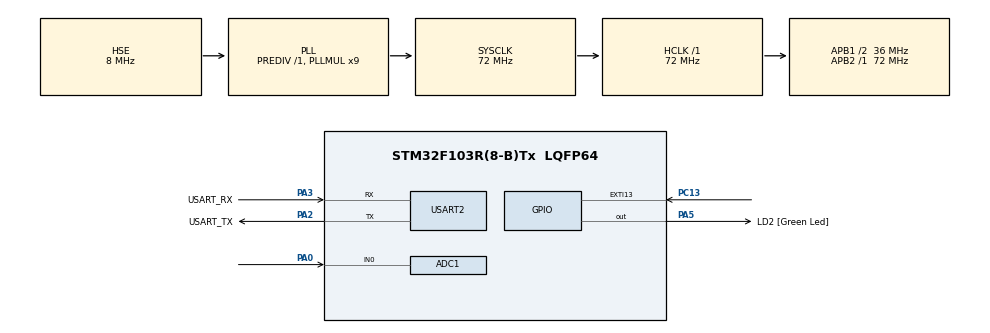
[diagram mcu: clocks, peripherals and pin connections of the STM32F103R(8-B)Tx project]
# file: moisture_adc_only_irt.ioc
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ADC1.Channel-0\#ChannelRegularConversion=ADC_CHANNEL_0
ADC1.ExternalTrigConv=ADC_EXTERNALTRIGCONV_T3_TRGO
ADC1.NbrOfConversionFlag=1
ADC1.Rank-0\#ChannelRegularConversion=1
ADC1.SamplingTime-0\#ChannelRegularConversion=ADC_SAMPLETIME_71CYCLES_5
ADC1.master=1
Dma.ADC1.0.Direction=DMA_PERIPH_TO_MEMORY
Dma.ADC1.0.Instance=DMA1_Channel1
Dma.ADC1.0.MemDataAlignment=DMA_MDATAALIGN_HALFWORD
Dma.ADC1.0.MemInc=DMA_MINC_ENABLE
Dma.ADC1.0.Mode=DMA_CIRCULAR
Dma.ADC1.0.PeriphDataAlignment=DMA_PDATAALIGN_HALFWORD
Dma.ADC1.0.PeriphInc=DMA_PINC_DISABLE
Dma.ADC1.0.Priority=DMA_PRIORITY_LOW
Dma.Request0=ADC1
Mcu.Family=STM32F1
Mcu.Name=STM32F103R(8-B)Tx
Mcu.Package=LQFP64
NVIC.DMA1_Channel1_IRQn=true\:0\:0\:false\:false\:true\:false\:true\:true
NVIC.PriorityGroup=NVIC_PRIORITYGROUP_4
NVIC.TIM3_IRQn=true\:0\:0\:false\:false\:true\:true\:true\:true
PA0-WKUP.Signal=ADCx_IN0
PA13.GPIO_Label=TMS
PA13.Mode=Serial_Wire
PA13.Signal=SYS_JTMS-SWDIO
PA14.GPIO_Label=TCK
PA14.Mode=Serial_Wire
PA14.Signal=SYS_JTCK-SWCLK
PA2.GPIO_Label=USART_TX
PA2.GPIO_Mode=GPIO_MODE_AF_PP
PA2.GPIO_PuPd=GPIO_NOPULL
PA2.GPIO_Speed=GPIO_SPEED_FREQ_LOW
PA2.Mode=Asynchronous
PA2.Signal=USART2_TX
PA3.GPIO_Label=USART_RX
PA3.GPIO_Mode=GPIO_MODE_AF_PP
PA3.GPIO_PuPd=GPIO_NOPULL
PA3.GPIO_Speed=GPIO_SPEED_FREQ_LOW
PA3.Mode=Asynchronous
PA3.Signal=USART2_RX
PA5.GPIO_Label=LD2 [Green Led]
PA5.GPIO_ModeDefaultOutputPP=GPIO_MODE_OUTPUT_PP
PA5.GPIO_PuPd=GPIO_NOPULL
PA5.GPIO_Speed=GPIO_SPEED_FREQ_LOW
PA5.Signal=GPIO_Output
PB3.GPIO_Label=SWO
PB3.Signal=SYS_JTDO-TRACESWO
PC13-TAMPER-RTC.Signal=GPXTI13
PC14-OSC32_IN.Mode=LSE-External-Oscillator
PC14-OSC32_IN.Signal=RCC_OSC32_IN
PC15-OSC32_OUT.Mode=LSE-External-Oscillator
PC15-OSC32_OUT.Signal=RCC_OSC32_OUT
PD0-OSC_IN.Mode=HSE-External-Clock-Source
PD0-OSC_IN.Signal=RCC_OSC_IN
PD1-OSC_OUT.Mode=HSE-External-Clock-Source
PD1-OSC_OUT.Signal=RCC_OSC_OUT
ProjectManager.HeapSize=0x200
ProjectManager.StackSize=0x400
ProjectManager.TargetToolchain=STM32CubeIDE
RCC.ADCPresc=RCC_ADCPCLK2_DIV6
RCC.AHBFreq_Value=72000000
RCC.APB1CLKDivider=RCC_HCLK_DIV2
RCC.APB1Freq_Value=36000000
RCC.APB1TimFreq_Value=72000000
RCC.APB2Freq_Value=72000000
RCC.APB2TimFreq_Value=72000000
RCC.HCLKFreq_Value=72000000
RCC.PLLMUL=RCC_PLL_MUL9
RCC.PLLSourceVirtual=RCC_PLLSOURCE_HSE
RCC.RTCClockSelection=RCC_RTCCLKSOURCE_LSE
RCC.SYSCLKFreq_VALUE=72000000
RCC.SYSCLKSource=RCC_SYSCLKSOURCE_PLLCLK
RCC.USBFreq_Value=72000000
SH.ADCx_IN0.0=ADC1_IN0,IN0
TIM3.Period=99
TIM3.Prescaler=7199
TIM3.TIM_MasterOutputTrigger=TIM_TRGO_UPDATE
TIM3.TIM_MasterSlaveMode=TIM_MASTERSLAVEMODE_DISABLE
USART2.VirtualMode=VM_ASYNC
VP_TIM3_VS_ClockSourceINT.Mode=Internal
board=NUCLEO-F103RB

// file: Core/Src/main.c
/* USER CODE BEGIN Header */
/**
  ******************************************************************************
  * @file           : main.c
  * @brief          : Main program body
  ******************************************************************************
  * @attention
  *
  * Copyright (c) 2025 STMicroelectronics.
  * All rights reserved.
  *
  * This software is licensed under terms that can be found in the LICENSE file
  * in the root directory of this software component.
  * If no LICENSE file comes with this software, it is provided AS-IS.
  *
  ******************************************************************************
  */
/* USER CODE END Header */
#include "main.h"

/* USER CODE BEGIN Includes */
#include <stdio.h>
/* USER CODE END Includes */

ADC_HandleTypeDef hadc1;
DMA_HandleTypeDef hdma_adc1;

TIM_HandleTypeDef htim3;

UART_HandleTypeDef huart2;

void SystemClock_Config(void);
static void MX_GPIO_Init(void);
static void MX_DMA_Init(void);
static void MX_USART2_UART_Init(void);
static void MX_ADC1_Init(void);
static void MX_TIM3_Init(void);

/* USER CODE BEGIN 0 */
// ---- 캘리브레이션(네 값으로 조정) ----
#define DRY_ADC_F 4018.0f
#define WET_ADC_F 2725.0f
static inline float clampf(float v,float lo,float hi){return v<lo?lo:(v>hi?hi:v);}
static float moisture_percent_u32(uint32_t a){
  float den = (WET_ADC_F - DRY_ADC_F);
  if (den>-0.5f && den<0.5f) return 0.0f;
  float p = ((float)a - DRY_ADC_F) * 100.0f / den;
  return clampf(p,0.0f,100.0f);
}

// ---- ADC DMA 버퍼/플래그 ----
#define ADC_BUF_LEN 128
static uint16_t adc_buf[ADC_BUF_LEN] __attribute__((aligned(32)));
static volatile uint8_t adc_half = 0, adc_full = 0;

// EMA(노이즈 완화)
static uint8_t ema_init = 0;
static float   ema_adc  = 0.0f;

// 버튼 디바운싱
static volatile uint8_t  btn_pressed = 0;
static volatile uint32_t btn_last_ms = 0;

// printf → UART2
int _write(int file, char *ptr, int len){
  extern UART_HandleTypeDef huart2;
  HAL_UART_Transmit(&huart2,(uint8_t*)ptr,len,HAL_MAX_DELAY);
  return len;
}

// 절반 버퍼 평균 → EMA
static void process_samples(uint16_t *p, uint32_t n){
  uint32_t s=0; for(uint32_t i=0;i<n;i++) s += p[i];
  uint32_t m = s / n;
  if(!ema_init){ ema_init=1; ema_adc=(float)m; }
  else         { ema_adc=0.8f*ema_adc + 0.2f*(float)m; }
}
/* USER CODE END 0 */

int main(void)
{

  /* MCU Configuration--------------------------------------------------------*/

  /* Reset of all peripherals, Initializes the Flash interface and the Systick. */
  HAL_Init();

  /* Configure the system clock */
  SystemClock_Config();

  /* Initialize all configured peripherals */
  MX_GPIO_Init();
  MX_DMA_Init();
  MX_USART2_UART_Init();
  MX_ADC1_Init();
  MX_TIM3_Init();
  /* USER CODE BEGIN 2 */
  printf("\r\n[STM32] Moisture (ADC DMA + TIM3 TRGO) start\r\n");
  HAL_ADCEx_Calibration_Start(&hadc1);                 // F1 보정
  HAL_TIM_Base_Start(&htim3);                          // TIM3 100 Hz
  HAL_ADC_Start_DMA(&hadc1,(uint32_t*)adc_buf,ADC_BUF_LEN);

  uint32_t t_print = HAL_GetTick();                    // 출력 타이밍
  /* USER CODE END 2 */

  /* Infinite loop */
  while (1)
  {

    /* USER CODE BEGIN 3 */
	  uint32_t now = HAL_GetTick();

	  // DMA 콜백 플래그 처리
	  if(adc_half){ adc_half=0; process_samples(&adc_buf[0],             ADC_BUF_LEN/2); }
	  if(adc_full){ adc_full=0; process_samples(&adc_buf[ADC_BUF_LEN/2], ADC_BUF_LEN/2); }

	  // 0.5초마다 상태 출력
	  if((uint32_t)(now - t_print) >= 500){
	    t_print += 500;
	    uint32_t adc = (uint32_t)(ema_adc + 0.5f);
	    float volt = 3.3f * (float)adc / 4095.0f;
	    float pct  = moisture_percent_u32(adc);
	    printf("ADC=%lu, V=%.3fV, Moisture=%.1f%%\r\n",(unsigned long)adc, volt, pct);
	  }

	  // 버튼 눌림(디바운스 후) 이벤트 (선택)
	  if(btn_pressed){
	    btn_pressed = 0;
	    uint32_t adc = (uint32_t)(ema_adc + 0.5f);
	    printf("CALIB suggest avg=%lu\r\n",(unsigned long)adc);
	  }

	  HAL_Delay(1);
  }
  /* USER CODE END 3 */
}

void SystemClock_Config(void)
{
  RCC_OscInitTypeDef RCC_OscInitStruct = {0};
  RCC_ClkInitTypeDef RCC_ClkInitStruct = {0};
  RCC_PeriphCLKInitTypeDef PeriphClkInit = {0};

  /** Initializes the RCC Oscillators according to the specified parameters
  * in the RCC_OscInitTypeDef structure.
  */
  RCC_OscInitStruct.OscillatorType = RCC_OSCILLATORTYPE_HSE;
  RCC_OscInitStruct.HSEState = RCC_HSE_BYPASS;
  RCC_OscInitStruct.HSEPredivValue = RCC_HSE_PREDIV_DIV1;
  RCC_OscInitStruct.HSIState = RCC_HSI_ON;
  RCC_OscInitStruct.PLL.PLLState = RCC_PLL_ON;
  RCC_OscInitStruct.PLL.PLLSource = RCC_PLLSOURCE_HSE;
  RCC_OscInitStruct.PLL.PLLMUL = RCC_PLL_MUL9;
  if (HAL_RCC_OscConfig(&RCC_OscInitStruct) != HAL_OK)
  {
    Error_Handler();
  }

  /** Initializes the CPU, AHB and APB buses clocks
  */
  RCC_ClkInitStruct.ClockType = RCC_CLOCKTYPE_HCLK|RCC_CLOCKTYPE_SYSCLK
                              |RCC_CLOCKTYPE_PCLK1|RCC_CLOCKTYPE_PCLK2;
  RCC_ClkInitStruct.SYSCLKSource = RCC_SYSCLKSOURCE_PLLCLK;
  RCC_ClkInitStruct.AHBCLKDivider = RCC_SYSCLK_DIV1;
  RCC_ClkInitStruct.APB1CLKDivider = RCC_HCLK_DIV2;
  RCC_ClkInitStruct.APB2CLKDivider = RCC_HCLK_DIV1;

  if (HAL_RCC_ClockConfig(&RCC_ClkInitStruct, FLASH_LATENCY_2) != HAL_OK)
  {
    Error_Handler();
  }
  PeriphClkInit.PeriphClockSelection = RCC_PERIPHCLK_ADC;
  PeriphClkInit.AdcClockSelection = RCC_ADCPCLK2_DIV6;
  if (HAL_RCCEx_PeriphCLKConfig(&PeriphClkInit) != HAL_OK)
  {
    Error_Handler();
  }
}

static void MX_ADC1_Init(void)
{

  ADC_ChannelConfTypeDef sConfig = {0};

  /** Common config
  */
  hadc1.Instance = ADC1;
  hadc1.Init.ScanConvMode = ADC_SCAN_DISABLE;
  hadc1.Init.ContinuousConvMode = DISABLE;
  hadc1.Init.DiscontinuousConvMode = DISABLE;
  hadc1.Init.ExternalTrigConv = ADC_EXTERNALTRIGCONV_T3_TRGO;
  hadc1.Init.DataAlign = ADC_DATAALIGN_RIGHT;
  hadc1.Init.NbrOfConversion = 1;
  if (HAL_ADC_Init(&hadc1) != HAL_OK)
  {
    Error_Handler();
  }

  /** Configure Regular Channel
  */
  sConfig.Channel = ADC_CHANNEL_0;
  sConfig.Rank = ADC_REGULAR_RANK_1;
  sConfig.SamplingTime = ADC_SAMPLETIME_71CYCLES_5;
  if (HAL_ADC_ConfigChannel(&hadc1, &sConfig) != HAL_OK)
  {
    Error_Handler();
  }

}

static void MX_TIM3_Init(void)
{

  TIM_ClockConfigTypeDef sClockSourceConfig = {0};
  TIM_MasterConfigTypeDef sMasterConfig = {0};

  htim3.Instance = TIM3;
  htim3.Init.Prescaler = 7199;
  htim3.Init.CounterMode = TIM_COUNTERMODE_UP;
  htim3.Init.Period = 99;
  htim3.Init.ClockDivision = TIM_CLOCKDIVISION_DIV1;
  htim3.Init.AutoReloadPreload = TIM_AUTORELOAD_PRELOAD_DISABLE;
  if (HAL_TIM_Base_Init(&htim3) != HAL_OK)
  {
    Error_Handler();
  }
  sClockSourceConfig.ClockSource = TIM_CLOCKSOURCE_INTERNAL;
  if (HAL_TIM_ConfigClockSource(&htim3, &sClockSourceConfig) != HAL_OK)
  {
    Error_Handler();
  }
  sMasterConfig.MasterOutputTrigger = TIM_TRGO_UPDATE;
  sMasterConfig.MasterSlaveMode = TIM_MASTERSLAVEMODE_DISABLE;
  if (HAL_TIMEx_MasterConfigSynchronization(&htim3, &sMasterConfig) != HAL_OK)
  {
    Error_Handler();
  }

}

static void MX_USART2_UART_Init(void)
{

  huart2.Instance = USART2;
  huart2.Init.BaudRate = 115200;
  huart2.Init.WordLength = UART_WORDLENGTH_8B;
  huart2.Init.StopBits = UART_STOPBITS_1;
  huart2.Init.Parity = UART_PARITY_NONE;
  huart2.Init.Mode = UART_MODE_TX_RX;
  huart2.Init.HwFlowCtl = UART_HWCONTROL_NONE;
  huart2.Init.OverSampling = UART_OVERSAMPLING_16;
  if (HAL_UART_Init(&huart2) != HAL_OK)
  {
    Error_Handler();
  }

}

static void MX_DMA_Init(void)
{

  /* DMA controller clock enable */
  __HAL_RCC_DMA1_CLK_ENABLE();

  /* DMA interrupt init */
  /* DMA1_Channel1_IRQn interrupt configuration */
  HAL_NVIC_SetPriority(DMA1_Channel1_IRQn, 0, 0);
  HAL_NVIC_EnableIRQ(DMA1_Channel1_IRQn);

}

static void MX_GPIO_Init(void)
{
  GPIO_InitTypeDef GPIO_InitStruct = {0};

  /* GPIO Ports Clock Enable */
  __HAL_RCC_GPIOC_CLK_ENABLE();
  __HAL_RCC_GPIOD_CLK_ENABLE();
  __HAL_RCC_GPIOA_CLK_ENABLE();
  __HAL_RCC_GPIOB_CLK_ENABLE();

  /*Configure GPIO pin Output Level */
  HAL_GPIO_WritePin(LD2_GPIO_Port, LD2_Pin, GPIO_PIN_RESET);

  /*Configure GPIO pin : PC13 */
  GPIO_InitStruct.Pin = GPIO_PIN_13;
  GPIO_InitStruct.Mode = GPIO_MODE_IT_RISING;
  GPIO_InitStruct.Pull = GPIO_NOPULL;
  HAL_GPIO_Init(GPIOC, &GPIO_InitStruct);

  /*Configure GPIO pin : LD2_Pin */
  GPIO_InitStruct.Pin = LD2_Pin;
  GPIO_InitStruct.Mode = GPIO_MODE_OUTPUT_PP;
  GPIO_InitStruct.Pull = GPIO_NOPULL;
  GPIO_InitStruct.Speed = GPIO_SPEED_FREQ_LOW;
  HAL_GPIO_Init(LD2_GPIO_Port, &GPIO_InitStruct);

  /* USER CODE BEGIN MX_GPIO_Init_2 */
  HAL_NVIC_SetPriority(EXTI15_10_IRQn, 0, 0);
  HAL_NVIC_EnableIRQ(EXTI15_10_IRQn);
  /* USER CODE END MX_GPIO_Init_2 */
}

/* USER CODE BEGIN 4 */
void HAL_ADC_ConvHalfCpltCallback(ADC_HandleTypeDef* h){
  if(h->Instance==ADC1) adc_half = 1;
}
void HAL_ADC_ConvCpltCallback(ADC_HandleTypeDef* h){
  if(h->Instance==ADC1) adc_full = 1;
}

// 버튼 EXTI + 디바운싱(PC13=B1 가정)
void HAL_GPIO_EXTI_Callback(uint16_t pin){
  if(pin==GPIO_PIN_13 /* 또는 B1_Pin */){
    uint32_t now = HAL_GetTick();
    if(now - btn_last_ms >= 150){ btn_last_ms = now; btn_pressed = 1; }
  }
}
/* USER CODE END 4 */

void Error_Handler(void)
{
  __disable_irq();
  while (1)
  {
  }
}
